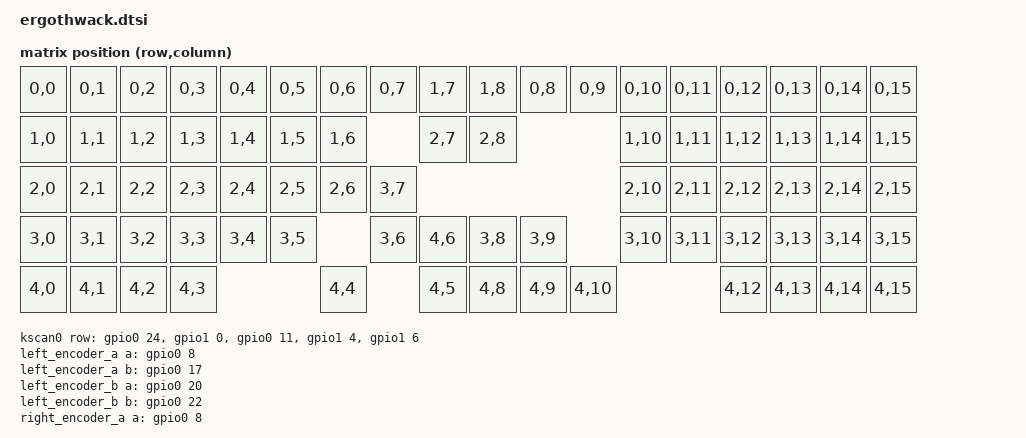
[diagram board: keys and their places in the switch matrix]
#include <dt-bindings/zmk/matrix_transform.h>

/ {
    chosen {
        zmk,underglow = &led_strip;
        zmk,kscan = &kscan0;
        zmk,matrix-transform = &default_transform;
        //zephyr,shell-uart = &cdc_acm_uart;
    };

    default_transform: keymap_transform_0 {
        compatible = "zmk,matrix-transform";
        columns = <16>;
        rows = <5>;
//|------SW0-------|------SW1-------|------SW2-------|------SW3-------|------SW4-------|------SW5-------|------SW6-------|((((((RE7)))))))|......TS15......|<>|......TS8.......|((((((RE0)))))))|------SW1-------|------SW2-------|------SW3-------|------SW4-------|------SW5-------|------SW6-------|------SW7-------|
//|------SW8-------|------SW9-------|------SW10------|------SW11------|------SW12------|------SW13------|------SW14------|                |......TS23......|<>|......TS15......|                                 |------SW9-------|------SW10------|------SW11------|------SW12------|------SW13------|------SW14------|
//|------SW16------|------SW17------|------SW18------|------SW19------|------SW20------|------SW21------|------SW22------|((((((RE31))))))|                 <>                                                   |------SW16------|------SW17------|------SW18------|------SW19------|------SW20------|------SW21------|
//|------SW24------|------SW25------|------SW26------|------SW27------|------SW28------|------SW29------|                |~~~~~~TH30~~~~~~|~~~~~~TH38~~~~~~|<>|~~~~~~TH22~~~~~~|~~~~~~TH23~~~~~~|                |------SW24------|------SW25------|------SW26------|------SW27------|------SW28------|------SW29------|
//|------SW32------|------SW33------|------SW34------|------SW35------|                                 |~~~~~~~~~~~~~~TH36~~~~~~~~~~~~~~~|~~~~~~TH37~~~~~~|<>|~~~~~~TH30~~~~~~|~~~~~~TH31~~~~~~|~~~~~~TH32~~~~~~|                                 |------SW33------|------SW34------|------SW35------|------SW36------|
        map = <
       RC(0,0)          RC(0,1)          RC(0,2)          RC(0,3)          RC(0,4)          RC(0,5)          RC(0,6)          RC(0,7)          RC(1,7)             RC(1,8)          RC(0,8)          RC(0,9)          RC(0,10)         RC(0,11)         RC(0,12)         RC(0,13)         RC(0,14)         RC(0,15)
       RC(1,0)          RC(1,1)          RC(1,2)          RC(1,3)          RC(1,4)          RC(1,5)          RC(1,6)                           RC(2,7)             RC(2,8)                                            RC(1,10)         RC(1,11)         RC(1,12)         RC(1,13)         RC(1,14)         RC(1,15)
       RC(2,0)          RC(2,1)          RC(2,2)          RC(2,3)          RC(2,4)          RC(2,5)          RC(2,6)          RC(3,7)                                                                                 RC(2,10)         RC(2,11)         RC(2,12)         RC(2,13)         RC(2,14)         RC(2,15)
       RC(3,0)          RC(3,1)          RC(3,2)          RC(3,3)          RC(3,4)          RC(3,5)                           RC(3,6)          RC(4,6)             RC(3,8)          RC(3,9)                           RC(3,10)         RC(3,11)         RC(3,12)         RC(3,13)         RC(3,14)         RC(3,15)
       RC(4,0)          RC(4,1)          RC(4,2)          RC(4,3)                                            RC(4,4)                           RC(4,5)             RC(4,8)          RC(4,9)          RC(4,10)                                           RC(4,12)         RC(4,13)         RC(4,14)         RC(4,15)
        >;
    };

    kscan0: kscan {
        compatible = "zmk,kscan-gpio-matrix";

        diode-direction = "col2row";
        row-gpios
            = <&gpio0 24 (GPIO_ACTIVE_HIGH | GPIO_PULL_DOWN)> // Row 0 from the schematic file
            , <&gpio1 0 (GPIO_ACTIVE_HIGH | GPIO_PULL_DOWN)> // Row 1 from the schematic file
            , <&gpio0 11 (GPIO_ACTIVE_HIGH | GPIO_PULL_DOWN)> // Row 2 from the schematic file
            , <&gpio1 4 (GPIO_ACTIVE_HIGH | GPIO_PULL_DOWN)> // Row 3 from the schematic file
            , <&gpio1 6 (GPIO_ACTIVE_HIGH | GPIO_PULL_DOWN)> // Row 4 from the schematic file
            ;

    };
    
    left_encoder_a: encoder_a_left {
        compatible = "alps,ec11";
        a-gpios = <&gpio0 8 (GPIO_ACTIVE_HIGH | GPIO_PULL_UP)>;
        b-gpios = <&gpio0 17 (GPIO_ACTIVE_HIGH | GPIO_PULL_UP)>;
        steps = <20>;
        status = "disabled";
    };
    
    left_encoder_b: encoder_b_left {
        compatible = "alps,ec11";
        a-gpios = <&gpio0 20 (GPIO_ACTIVE_HIGH | GPIO_PULL_UP)>;
        b-gpios = <&gpio0 22 (GPIO_ACTIVE_HIGH | GPIO_PULL_UP)>;
        steps = <20>;
        status = "disabled";
    };
    
    right_encoder_a: encoder_a_right {
        compatible = "alps,ec11";
        a-gpios = <&gpio0 8 (GPIO_ACTIVE_HIGH | GPIO_PULL_UP)>;
        b-gpios = <&gpio0 22 (GPIO_ACTIVE_HIGH | GPIO_PULL_UP)>;
        steps = <20>;
        status = "disabled";
    };
    
    sensors: sensors {
        compatible = "zmk,keymap-sensors";
        sensors = <&left_encoder_a &left_encoder_b &right_encoder_a>;
        triggers-per-rotation = <5>;
    };
};

&pro_micro_i2c {
    status = "okay";
    glidepoint: glidepoint@2a {
        compatible = "cirque,pinnacle";
        reg = <0x2a>;
        status = "okay";
        dr-gpios = <&gpio1 1 (GPIO_ACTIVE_HIGH)>;

        sensitivity = "4x";
        // sleep;
        no-taps;
    };
};

/ {
  glidepoint_listener {
    compatible = "zmk,input-listener";
    device = <&glidepoint>;

    xy-swap;
    y-invert;
    x-invert;
    scale-multiplier = <1>;
    scale-divisor = <1>;
  };
};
